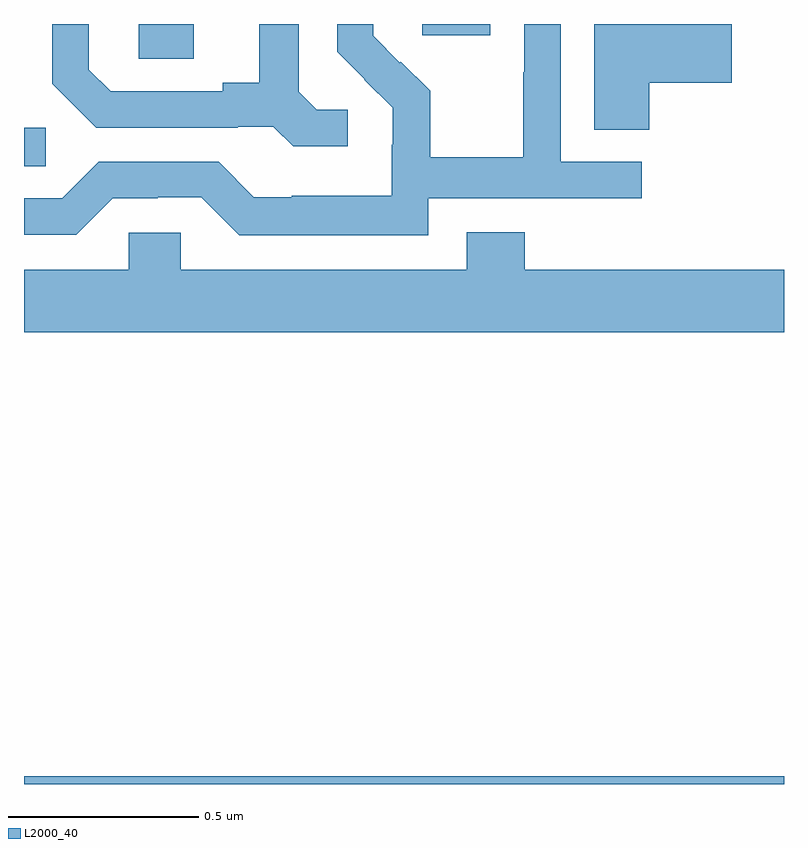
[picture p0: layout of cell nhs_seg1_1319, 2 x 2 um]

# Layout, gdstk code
import gdstk
lib = gdstk.Library(unit=1e-6, precision=1e-09)
def R(c, l, rs):  # rectangles x0, y0, x1, y1
    for r in rs: c.add(gdstk.rectangle(r[:2], r[2:], *l))
def P(c, l, *ps):  # polygons
    for p in ps: c.add(gdstk.Polygon(p, *l))
L2000_40 = (2000, 40)

nhs_seg1_1319 = lib.new_cell('nhs_seg1_1319')
R(nhs_seg1_1319, L2000_40, [(127,561.199,129,561.22), (127,562.825,127.057,562.926), (127.302,563.107,127.447,563.199), (128.048,563.169,128.227,563.199)])
P(nhs_seg1_1319, L2000_40, [(127.852,562.974),(127.77,562.974),(127.723,563.021),(127.723,563.199),(127.619,563.199),(127.619,563.045),(127.523,563.045),(127.523,563.022),(127.228,563.022),(127.171,563.079),(127.171,563.199),(127.074,563.199),(127.074,563.042),(127.19,562.926),(127.562,562.926),(127.562,562.929),(127.656,562.929),(127.708,562.877),(127.852,562.877)],
  [(128.064,562.74),(128.626,562.74),(128.626,562.836),(128.412,562.836),(128.412,563.199),(128.316,563.199),(128.316,563.072),(128.314,563.072),(128.314,562.849),(128.069,562.849),(128.069,563.023),(127.992,563.1),(127.989,563.097),(127.919,563.168),(127.919,563.199),(127.824,563.199),(127.824,563.126),(127.897,563.053),(127.896,563.052),(127.97,562.978),(127.97,562.881),(127.968,562.881),(127.968,562.747),(127.705,562.747),(127.705,562.743),(127.605,562.743),(127.512,562.836),(127.197,562.836),(127.101,562.74),(127,562.74),(127,562.644),(127.137,562.644),(127.233,562.74),(127.352,562.74),(127.352,562.743),(127.467,562.743),(127.567,562.643),(128.064,562.643)],
  [(128.645,563.045),(128.863,563.045),(128.863,563.199),(128.501,563.199),(128.501,562.921),(128.645,562.921)],
  [(129,562.552),(128.318,562.552),(128.318,562.651),(128.165,562.651),(128.165,562.552),(127.413,562.552),(127.413,562.65),(127.275,562.65),(127.275,562.552),(127,562.552),(127,562.388),(129,562.388)])

lib.write_gds('nhs_seg1_1319.gds')
